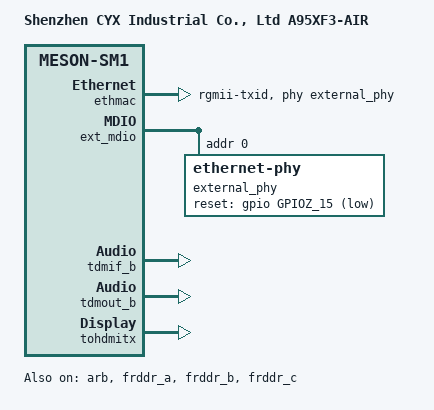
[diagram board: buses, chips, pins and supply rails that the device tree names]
// SPDX-License-Identifier: (GPL-2.0+ OR MIT)
/*
 * Copyright (c) 2019 BayLibre SAS. All rights reserved.
 * Copyright (c) 2020 Christian Hewitt <christianshewitt@gmail.com>
 */

/dts-v1/;

#include "meson-sm1-ac2xx.dtsi"
#include <dt-bindings/sound/meson-g12a-tohdmitx.h>

/ {
	compatible = "cyx,a95xf3-air-gbit", "amlogic,sm1";
	model = "Shenzhen CYX Industrial Co., Ltd A95XF3-AIR";

	sound {
		compatible = "amlogic,axg-sound-card";
		model = "A95XF3-AIR";
		audio-aux-devs = <&tdmout_b>;
		audio-routing = "TDMOUT_B IN 0", "FRDDR_A OUT 1",
				"TDMOUT_B IN 1", "FRDDR_B OUT 1",
				"TDMOUT_B IN 2", "FRDDR_C OUT 1",
				"TDM_B Playback", "TDMOUT_B OUT";

		assigned-clocks = <&clkc CLKID_MPLL2>,
				  <&clkc CLKID_MPLL0>,
				  <&clkc CLKID_MPLL1>;
		assigned-clock-parents = <0>, <0>, <0>;
		assigned-clock-rates = <294912000>,
				       <270950400>,
				       <393216000>;

		dai-link-0 {
			sound-dai = <&frddr_a>;
		};

		dai-link-1 {
			sound-dai = <&frddr_b>;
		};

		dai-link-2 {
			sound-dai = <&frddr_c>;
		};

		/* 8ch hdmi interface */
		dai-link-3 {
			sound-dai = <&tdmif_b>;
			dai-format = "i2s";
			dai-tdm-slot-tx-mask-0 = <1 1>;
			dai-tdm-slot-tx-mask-1 = <1 1>;
			dai-tdm-slot-tx-mask-2 = <1 1>;
			dai-tdm-slot-tx-mask-3 = <1 1>;
			mclk-fs = <256>;

			codec {
				sound-dai = <&tohdmitx TOHDMITX_I2S_IN_B>;
			};
		};

		/* hdmi glue */
		dai-link-4 {
			sound-dai = <&tohdmitx TOHDMITX_I2S_OUT>;

			codec {
				sound-dai = <&hdmi_tx>;
			};
		};
	};
};

&arb {
	status = "okay";
};

&clkc_audio {
	status = "okay";
};

&ethmac {
	status = "okay";

	pinctrl-0 = <&eth_pins>, <&eth_rgmii_pins>;
	pinctrl-names = "default";
	phy-mode = "rgmii-txid";
	phy-handle = <&external_phy>;

	rx-internal-delay-ps = <800>;
};

&ext_mdio {
	external_phy: ethernet-phy@0 {
		/* Realtek RTL8211F (0x001cc916) */
		reg = <0>;
		max-speed = <1000>;

		reset-assert-us = <10000>;
		reset-deassert-us = <80000>;
		reset-gpios = <&gpio GPIOZ_15 (GPIO_ACTIVE_LOW | GPIO_OPEN_DRAIN)>;

		interrupt-parent = <&gpio_intc>;
		/* MAC_INTR on GPIOZ_14 */
		interrupts = <IRQID_GPIOZ_14 IRQ_TYPE_LEVEL_LOW>;
	};
};

&frddr_a {
	status = "okay";
};

&frddr_b {
	status = "okay";
};

&frddr_c {
	status = "okay";
};

&tdmif_b {
	status = "okay";
};

&tdmout_b {
	status = "okay";
};

&tohdmitx {
	status = "okay";
};
